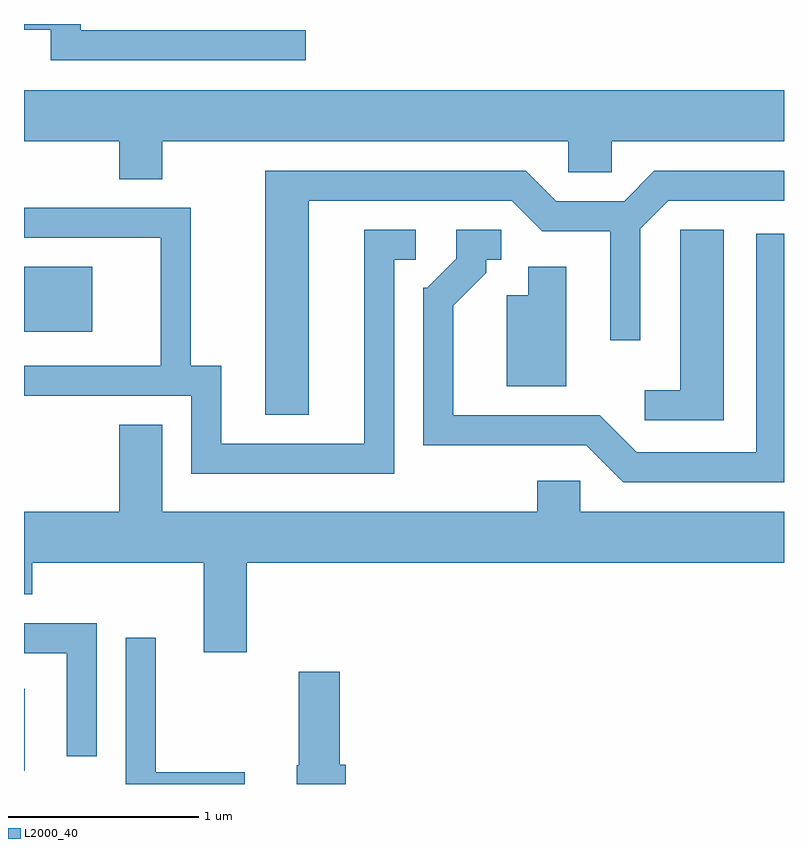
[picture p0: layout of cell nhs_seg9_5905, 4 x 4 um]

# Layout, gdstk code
import gdstk
lib = gdstk.Library(unit=1e-6, precision=1e-09)
def R(c, l, rs):  # rectangles x0, y0, x1, y1
    for r in rs: c.add(gdstk.rectangle(r[:2], r[2:], *l))
def P(c, l, *ps):  # polygons
    for p in ps: c.add(gdstk.Polygon(p, *l))
L2000_40 = (2000, 40)

nhs_seg9_5905 = lib.new_cell('nhs_seg9_5905')
R(nhs_seg9_5905, L2000_40, [(359.611,1988.501,359.614,1988.934), (359.611,1990.811,359.969,1991.154)])
P(nhs_seg9_5905, L2000_40, [(361.093,1992.399),(359.909,1992.399),(359.909,1992.432),(359.611,1992.432),(359.611,1992.401),(359.751,1992.401),(359.751,1992.241),(361.093,1992.241)],
  [(359.611,1991.816),(360.111,1991.816),(360.111,1991.616),(360.339,1991.616),(360.339,1991.816),(362.476,1991.816),(362.476,1991.651),(362.704,1991.651),(362.704,1991.816),(363.611,1991.816),(363.611,1992.084),(359.611,1992.084)],
  [(361.109,1991.501),(362.179,1991.501),(362.339,1991.341),(362.696,1991.341),(362.696,1990.768),(362.854,1990.768),(362.854,1991.354),(363.002,1991.501),(363.611,1991.501),(363.611,1991.659),(362.929,1991.659),(362.769,1991.499),(362.412,1991.499),(362.252,1991.659),(360.881,1991.659),(360.881,1990.376),(361.109,1990.376)],
  [(361.559,1991.191),(361.673,1991.191),(361.673,1991.349),(361.401,1991.349),(361.401,1990.224),(360.649,1990.224),(360.649,1990.634),(360.489,1990.634),(360.489,1991.464),(359.613,1991.464),(359.613,1991.306),(360.331,1991.306),(360.331,1990.634),(359.613,1990.634),(359.613,1990.476),(360.491,1990.476),(360.491,1990.066),(361.559,1990.066)],
  [(363.611,1991.329),(363.466,1991.329),(363.466,1990.179),(362.837,1990.179),(362.642,1990.374),(361.869,1990.374),(361.869,1990.949),(362.044,1991.124),(362.044,1991.191),(362.123,1991.191),(362.123,1991.349),(361.886,1991.349),(361.886,1991.197),(361.734,1991.044),(361.711,1991.044),(361.711,1990.216),(362.569,1990.216),(362.764,1990.021),(363.611,1990.021)],
  [(363.294,1991.349),(363.066,1991.349),(363.066,1990.504),(362.878,1990.504),(362.878,1990.346),(363.294,1990.346)],
  [(362.464,1991.154),(362.266,1991.154),(362.266,1991.004),(362.151,1991.004),(362.151,1990.526),(362.464,1990.526)],
  [(360.784,1989.596),(363.611,1989.596),(363.611,1989.864),(362.539,1989.864),(362.539,1990.029),(362.311,1990.029),(362.311,1989.864),(360.339,1989.864),(360.339,1990.324),(360.111,1990.324),(360.111,1989.864),(359.611,1989.864),(359.611,1989.431),(359.654,1989.431),(359.654,1989.596),(360.556,1989.596),(360.556,1989.126),(360.784,1989.126)],
  [(359.994,1989.279),(359.611,1989.279),(359.611,1989.121),(359.836,1989.121),(359.836,1988.578),(359.994,1988.578)],
  [(360.774,1988.494),(360.304,1988.494),(360.304,1989.203),(360.146,1989.203),(360.146,1988.432),(360.774,1988.432)],
  [(361.304,1988.534),(361.274,1988.534),(361.274,1989.024),(361.056,1989.024),(361.056,1988.53),(361.046,1988.53),(361.046,1988.432),(361.304,1988.432)])

lib.write_gds('nhs_seg9_5905.gds')
